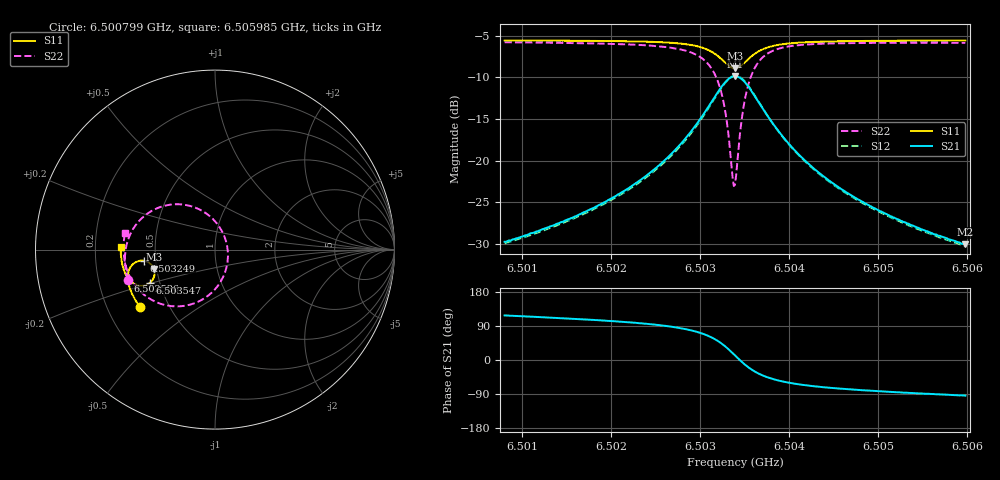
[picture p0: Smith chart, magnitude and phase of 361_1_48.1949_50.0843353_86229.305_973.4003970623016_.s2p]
#  HZ  S  RI  R  50.00
! Rohde & Schwarz Vector Network Analyzer
! Rohde-Schwarz,ZNB20-2Port,1311601062101988,3.16
! Created: UTC 3/20/2024, 11:52:12 AM
! freq[Hz]  re:S11  im:S11  re:S21  im:S21  re:S12  im:S12  re:S22  im:S22
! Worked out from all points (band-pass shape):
!   401 points, 6.500799 GHz to 6.505985 GHz, reference 50 ohm
!   highest |S21| = -9.86 dB at 6.503392 GHz (marker M1); lowest = -30.0 dB at 6.505985 GHz (marker M2)
!   |S21| within 3 dB of the highest: 6.503133 GHz to 6.503651 GHz (517.9 kHz wide, 0.00796 % of centre)
!   lowest |S11| = -8.9 dB at 6.503392 GHz (marker M3), VSWR 2.11, Z = 24.1 - j6.1 ohm
!   |S11| at or under -10 dB: nowhere
!   |S22| runs from -23.0 to -5.8 dB; largest |S21 - S12| = 0.011
!   S11 on the Smith chart (normalised r, x): 6.500799 GHz: 0.34, -0.30; 6.502536 GHz: 0.33, -0.15; 6.503249 GHz: 0.43, -0.06; 6.503547 GHz: 0.44, -0.20; 6.505985 GHz: 0.31, +0.01
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6.500799e9  -0.4193 -0.3184  -0.0151 0.0289  -0.0134 0.029  -0.4853 -0.1678
6.5016676e9  -0.4577 -0.2555  -0.0145 0.0462  -0.0122 0.0457  -0.5011 -0.0778
6.5021732e9  -0.4759 -0.2114  -0.0117 0.0664  -0.00862 0.0653  -0.4988 -0.00767
6.5025362e9  -0.4851 -0.1719  -0.00343 0.0937  0.000191 0.0916  -0.4815 0.063
6.5027955e9  -0.4847 -0.1352  0.0151 0.1278  0.0189 0.124  -0.4428 0.1353
6.502977e9  -0.4737 -0.1021  0.0492 0.1636  0.0523 0.1582  -0.3758 0.201
6.5031455e9  -0.4396 -0.0692  0.1255 0.1967  0.1267 0.1902  -0.2358 0.2518
6.5031973e9  -0.4208 -0.0627  0.1638 0.1983  0.1645 0.1923  -0.1681 0.2494
6.5032492e9  -0.3976 -0.0619  0.2094 0.1884  0.2097 0.183  -0.0897 0.2252
6.5033011e9  -0.3726 -0.0702  0.257 0.161  0.2577 0.1563  -0.0105 0.1691
6.5033659e9  -0.3463 -0.096  0.3042 0.0988  0.3066 0.0939  0.0605 0.0497
6.5033918e9  -0.3401 -0.1102  0.3143 0.0673  0.3172 0.0616  0.0713 -0.00886
6.5034048e9  -0.3381 -0.1178  0.317 0.0509  0.3202 0.0446  0.0722 -0.039
6.5034825e9  -0.3439 -0.1618  0.3007 -0.0418  0.3026 -0.0517  0.0163 -0.2012
6.5035474e9  -0.3646 -0.187  0.2591 -0.0953  0.2579 -0.1061  -0.0778 -0.2823
6.5036511e9  -0.4032 -0.2018  0.1861 -0.131  0.1809 -0.14  -0.2242 -0.3161
6.5038196e9  -0.4485 -0.1922  0.1064 -0.1284  0.0995 -0.1331  -0.3682 -0.2709
6.5040011e9  -0.4755 -0.1707  0.0627 -0.1089  0.0567 -0.1112  -0.4389 -0.2072
6.5042604e9  -0.4961 -0.1406  0.0334 -0.0853  0.0288 -0.0858  -0.4815 -0.1363
6.5046622e9  -0.512 -0.0996  0.0144 -0.0622  0.0111 -0.0617  -0.504 -0.0599
6.5051289e9  -0.5211 -0.0569  0.00479 -0.0467  0.00264 -0.046  -0.5096 0.00381
6.5059846e9  -0.5258 0.015  -0.00225 -0.0314  -0.00337 -0.0305  -0.5014 0.0925
